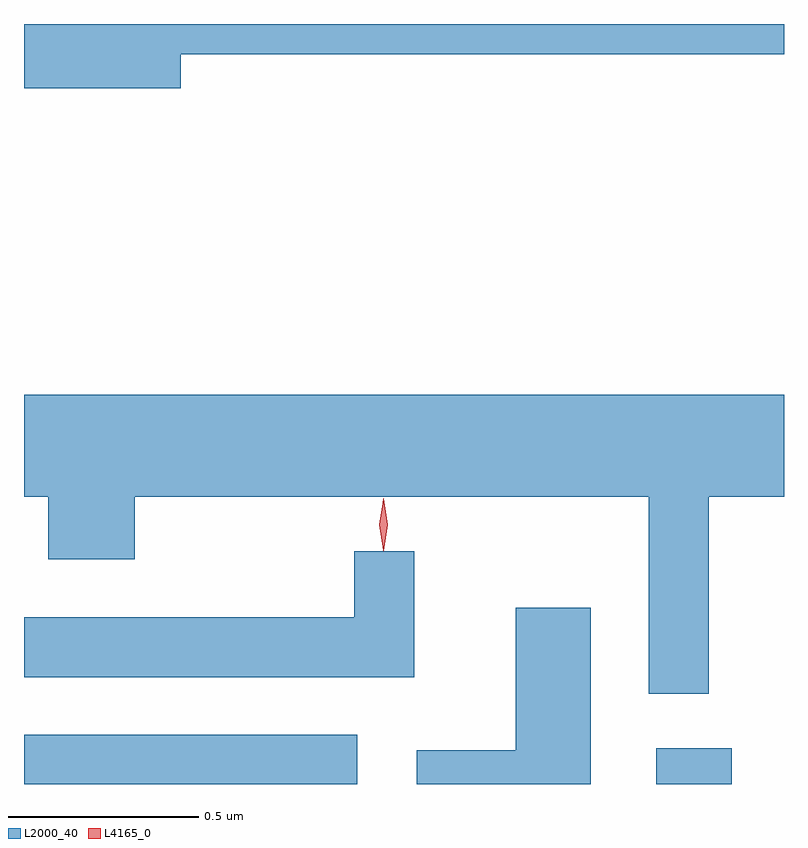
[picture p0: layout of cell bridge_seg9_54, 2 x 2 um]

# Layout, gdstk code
import gdstk
lib = gdstk.Library(unit=1e-6, precision=1e-09)
def R(c, l, rs):  # rectangles x0, y0, x1, y1
    for r in rs: c.add(gdstk.rectangle(r[:2], r[2:], *l))
def P(c, l, *ps):  # polygons
    for p in ps: c.add(gdstk.Polygon(p, *l))
L2000_40 = (2000, 40)
L4165_0 = (4165, 0)

bridge_seg9_54 = lib.new_cell('bridge_seg9_54')
R(bridge_seg9_54, L2000_40, [(1625.922,1988.84,1626.799,1988.969), (1627.586,1988.84,1627.784,1988.934)])
P(bridge_seg9_54, L2000_40, [(1626.334,1990.761),(1627.922,1990.761),(1627.922,1990.84),(1625.922,1990.84),(1625.922,1990.671),(1626.334,1990.671)],
  [(1627.724,1989.596),(1627.922,1989.596),(1627.922,1989.864),(1625.922,1989.864),(1625.922,1989.596),(1625.986,1989.596),(1625.986,1989.431),(1626.214,1989.431),(1626.214,1989.596),(1627.566,1989.596),(1627.566,1989.078),(1627.724,1989.078)],
  [(1626.949,1989.453),(1626.791,1989.453),(1626.791,1989.279),(1625.922,1989.279),(1625.922,1989.121),(1626.949,1989.121)],
  [(1627.414,1989.304),(1627.216,1989.304),(1627.216,1988.929),(1626.956,1988.929),(1626.956,1988.84),(1627.414,1988.84)])
P(bridge_seg9_54, L4165_0, [(1626.869,1989.453),(1626.868,1989.454),(1626.859,1989.522),(1626.868,1989.591),(1626.869,1989.592),(1626.869,1989.591),(1626.879,1989.522),(1626.869,1989.454)],
  [(1626.867,1989.457),(1626.867,1989.457),(1626.857,1989.522),(1626.867,1989.587),(1626.867,1989.587),(1626.868,1989.587),(1626.877,1989.522),(1626.868,1989.457)])

lib.write_gds('bridge_seg9_54.gds')
